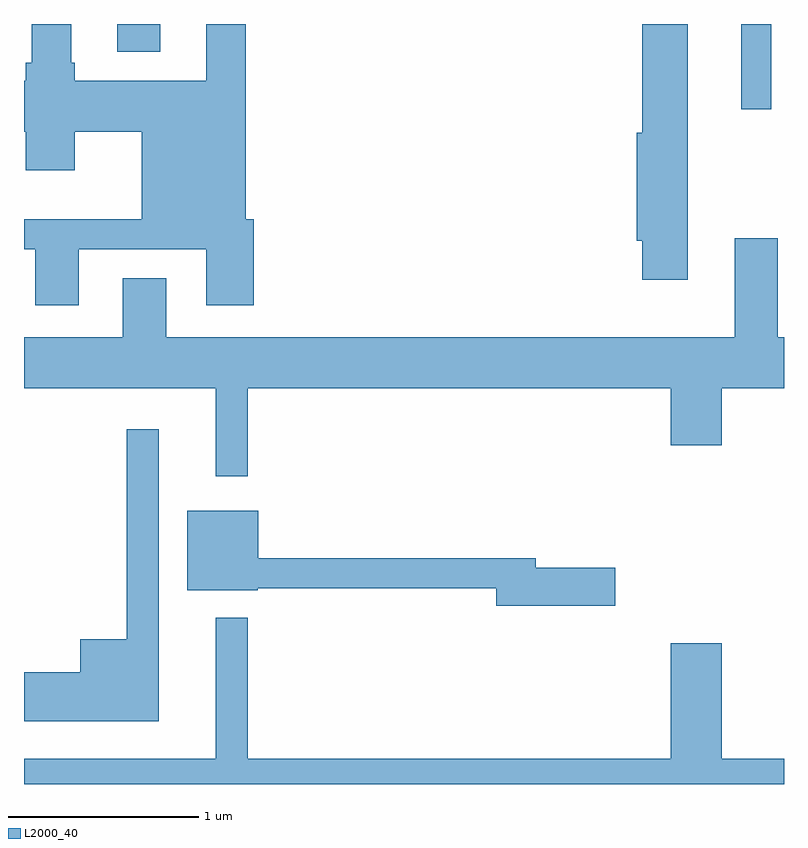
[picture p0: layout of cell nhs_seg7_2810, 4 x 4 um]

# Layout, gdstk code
import gdstk
lib = gdstk.Library(unit=1e-6, precision=1e-09)
def R(c, l, rs):  # rectangles x0, y0, x1, y1
    for r in rs: c.add(gdstk.rectangle(r[:2], r[2:], *l))
def P(c, l, *ps):  # polygons
    for p in ps: c.add(gdstk.Polygon(p, *l))
L2000_40 = (2000, 40)

nhs_seg7_2810 = lib.new_cell('nhs_seg7_2810')
R(nhs_seg7_2810, L2000_40, [(275.386,1695.803,275.544,1696.252), (272.101,1696.106,272.329,1696.252)])
P(nhs_seg7_2810, L2000_40, [(271.899,1695.066),(272.571,1695.066),(272.571,1694.771),(272.819,1694.771),(272.819,1695.224),(272.779,1695.224),(272.779,1696.252),(272.571,1696.252),(272.571,1695.954),(271.879,1695.954),(271.879,1696.049),(271.859,1696.049),(271.859,1696.252),(271.651,1696.252),(271.651,1696.049),(271.621,1696.049),(271.621,1695.954),(271.611,1695.954),(271.611,1695.686),(271.621,1695.686),(271.621,1695.481),(271.879,1695.481),(271.879,1695.686),(272.231,1695.686),(272.231,1695.224),(271.611,1695.224),(271.611,1695.066),(271.671,1695.066),(271.671,1694.771),(271.899,1694.771)],
  [(275.104,1696.252),(274.866,1696.252),(274.866,1695.679),(274.836,1695.679),(274.836,1695.111),(274.866,1695.111),(274.866,1694.906),(275.104,1694.906)],
  [(272.789,1694.336),(275.016,1694.336),(275.016,1694.036),(275.284,1694.036),(275.284,1694.336),(275.611,1694.336),(275.611,1694.604),(275.579,1694.604),(275.579,1695.124),(275.351,1695.124),(275.351,1694.604),(272.359,1694.604),(272.359,1694.914),(272.131,1694.914),(272.131,1694.604),(271.611,1694.604),(271.611,1694.336),(272.621,1694.336),(272.621,1693.873),(272.789,1693.873)],
  [(272.319,1694.118),(272.151,1694.118),(272.151,1693.014),(271.906,1693.014),(271.906,1692.839),(271.611,1692.839),(271.611,1692.581),(272.319,1692.581)],
  [(274.724,1693.389),(274.304,1693.389),(274.304,1693.439),(272.844,1693.439),(272.844,1693.689),(272.471,1693.689),(272.471,1693.271),(272.84,1693.271),(272.84,1693.281),(274.096,1693.281),(274.096,1693.191),(274.724,1693.191)],
  [(275.611,1692.384),(275.284,1692.384),(275.284,1692.994),(275.016,1692.994),(275.016,1692.384),(272.789,1692.384),(272.789,1693.128),(272.621,1693.128),(272.621,1692.384),(271.611,1692.384),(271.611,1692.252),(275.611,1692.252)])

lib.write_gds('nhs_seg7_2810.gds')
